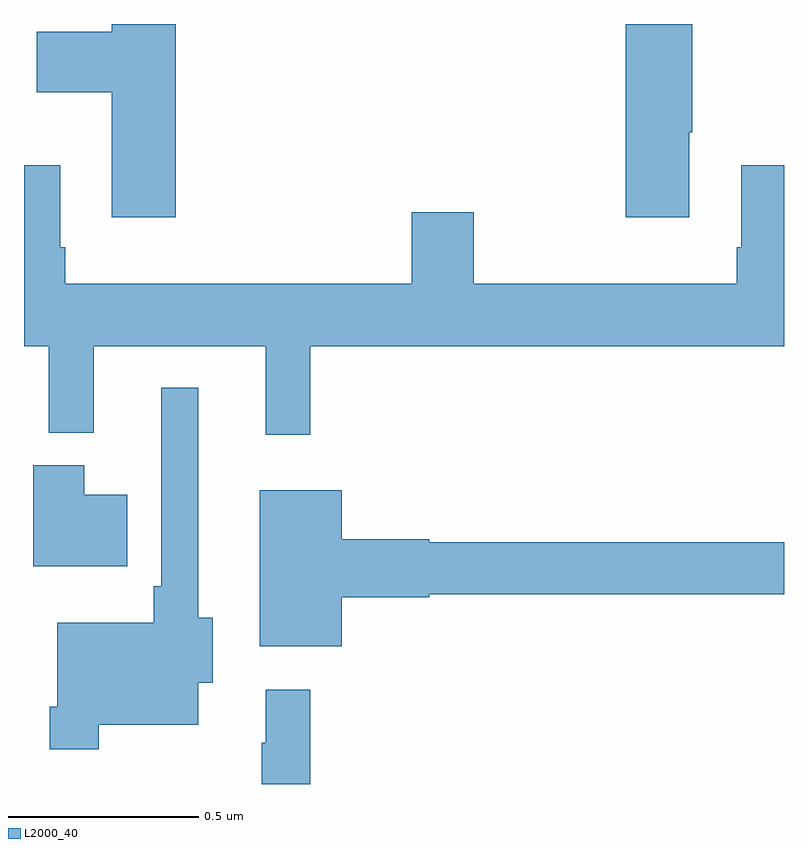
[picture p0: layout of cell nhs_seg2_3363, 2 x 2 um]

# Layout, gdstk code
import gdstk
lib = gdstk.Library(unit=1e-6, precision=1e-09)
def P(c, l, *ps):  # polygons
    for p in ps: c.add(gdstk.Polygon(p, *l))
L2000_40 = (2000, 40)

nhs_seg2_3363 = lib.new_cell('nhs_seg2_3363')
P(nhs_seg2_3363, L2000_40, [(152.399,665.8),(152.231,665.8),(152.231,665.779),(152.034,665.779),(152.034,665.621),(152.231,665.621),(152.231,665.292),(152.399,665.292)],
  [(153.751,665.515),(153.759,665.515),(153.759,665.8),(153.584,665.8),(153.584,665.292),(153.751,665.292)],
  [(152.753,664.952),(154,664.952),(154,665.428),(153.887,665.428),(153.887,665.212),(153.875,665.212),(153.875,665.116),(153.184,665.116),(153.184,665.305),(153.02,665.305),(153.02,665.116),(152.108,665.116),(152.108,665.212),(152.095,665.212),(152.095,665.428),(152,665.428),(152,664.952),(152.065,664.952),(152.065,664.724),(152.183,664.724),(152.183,664.952),(152.636,664.952),(152.636,664.719),(152.753,664.719)],
  [(152.197,663.956),(152.458,663.956),(152.458,664.067),(152.497,664.067),(152.497,664.238),(152.458,664.238),(152.458,664.843),(152.361,664.843),(152.361,664.321),(152.341,664.321),(152.341,664.225),(152.088,664.225),(152.088,664.003),(152.068,664.003),(152.068,663.891),(152.197,663.891)],
  [(152.272,664.561),(152.158,664.561),(152.158,664.639),(152.024,664.639),(152.024,664.373),(152.272,664.373)],
  [(152.836,664.292),(153.066,664.292),(153.066,664.3),(154,664.3),(154,664.436),(153.066,664.436),(153.066,664.444),(152.836,664.444),(152.836,664.573),(152.621,664.573),(152.621,664.163),(152.836,664.163)],
  [(152.753,664.048),(152.636,664.048),(152.636,663.908),(152.625,663.908),(152.625,663.8),(152.753,663.8)])

lib.write_gds('nhs_seg2_3363.gds')
